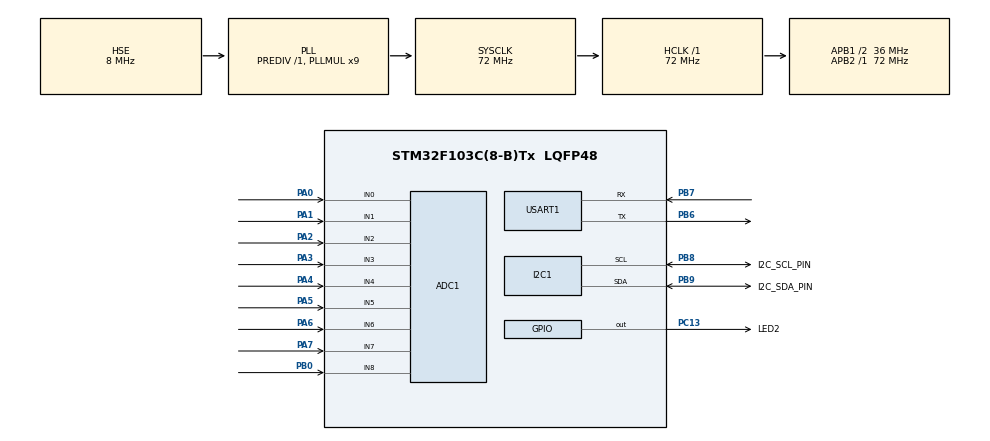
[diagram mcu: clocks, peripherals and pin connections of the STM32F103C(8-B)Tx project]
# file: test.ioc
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ADC1.Channel-10\#ChannelRegularConversion=ADC_CHANNEL_6
ADC1.Channel-11\#ChannelRegularConversion=ADC_CHANNEL_7
ADC1.Channel-4\#ChannelRegularConversion=ADC_CHANNEL_0
ADC1.Channel-5\#ChannelRegularConversion=ADC_CHANNEL_1
ADC1.Channel-6\#ChannelRegularConversion=ADC_CHANNEL_2
ADC1.Channel-7\#ChannelRegularConversion=ADC_CHANNEL_3
ADC1.Channel-8\#ChannelRegularConversion=ADC_CHANNEL_4
ADC1.Channel-9\#ChannelRegularConversion=ADC_CHANNEL_5
ADC1.ContinuousConvMode=DISABLE
ADC1.DataAlign=ADC_DATAALIGN_RIGHT
ADC1.DiscontinuousConvMode=DISABLE
ADC1.EnableAnalogWatchDog=false
ADC1.EnableRegularConversion=ENABLE
ADC1.ExternalTrigConv=ADC_SOFTWARE_START
ADC1.InjNumberOfConversion=0
ADC1.NbrOfConversion=8
ADC1.NbrOfConversionFlag=1
ADC1.Rank-10\#ChannelRegularConversion=7
ADC1.Rank-11\#ChannelRegularConversion=8
ADC1.Rank-4\#ChannelRegularConversion=1
ADC1.Rank-5\#ChannelRegularConversion=2
ADC1.Rank-6\#ChannelRegularConversion=3
ADC1.Rank-7\#ChannelRegularConversion=4
ADC1.Rank-8\#ChannelRegularConversion=5
ADC1.Rank-9\#ChannelRegularConversion=6
ADC1.SamplingTime-10\#ChannelRegularConversion=ADC_SAMPLETIME_239CYCLES_5
ADC1.SamplingTime-11\#ChannelRegularConversion=ADC_SAMPLETIME_239CYCLES_5
ADC1.SamplingTime-4\#ChannelRegularConversion=ADC_SAMPLETIME_239CYCLES_5
ADC1.SamplingTime-5\#ChannelRegularConversion=ADC_SAMPLETIME_239CYCLES_5
ADC1.SamplingTime-6\#ChannelRegularConversion=ADC_SAMPLETIME_239CYCLES_5
ADC1.SamplingTime-7\#ChannelRegularConversion=ADC_SAMPLETIME_239CYCLES_5
ADC1.SamplingTime-8\#ChannelRegularConversion=ADC_SAMPLETIME_239CYCLES_5
ADC1.SamplingTime-9\#ChannelRegularConversion=ADC_SAMPLETIME_239CYCLES_5
ADC1.ScanConvMode=ADC_SCAN_ENABLE
ADC1.master=1
Dma.ADC1.1.Direction=DMA_PERIPH_TO_MEMORY
Dma.ADC1.1.Instance=DMA1_Channel1
Dma.ADC1.1.MemDataAlignment=DMA_MDATAALIGN_HALFWORD
Dma.ADC1.1.MemInc=DMA_MINC_ENABLE
Dma.ADC1.1.Mode=DMA_NORMAL
Dma.ADC1.1.PeriphDataAlignment=DMA_PDATAALIGN_HALFWORD
Dma.ADC1.1.PeriphInc=DMA_PINC_DISABLE
Dma.ADC1.1.Priority=DMA_PRIORITY_LOW
Dma.I2C1_TX.0.Direction=DMA_MEMORY_TO_PERIPH
Dma.I2C1_TX.0.Instance=DMA1_Channel6
Dma.I2C1_TX.0.MemDataAlignment=DMA_MDATAALIGN_BYTE
Dma.I2C1_TX.0.MemInc=DMA_MINC_ENABLE
Dma.I2C1_TX.0.Mode=DMA_NORMAL
Dma.I2C1_TX.0.PeriphDataAlignment=DMA_PDATAALIGN_BYTE
Dma.I2C1_TX.0.PeriphInc=DMA_PINC_DISABLE
Dma.I2C1_TX.0.Priority=DMA_PRIORITY_LOW
Dma.Request0=I2C1_TX
Dma.Request1=ADC1
Mcu.Family=STM32F1
Mcu.Name=STM32F103C(8-B)Tx
Mcu.Package=LQFP48
NVIC.ADC1_2_IRQn=true\:0\:0\:false\:false\:true\:true
NVIC.DMA1_Channel1_IRQn=true\:0\:0\:false\:false\:true\:false
NVIC.DMA1_Channel6_IRQn=true\:0\:0\:false\:false\:true\:false
NVIC.I2C1_ER_IRQn=true\:0\:0\:false\:false\:true\:true
NVIC.I2C1_EV_IRQn=true\:0\:0\:false\:false\:true\:true
NVIC.PriorityGroup=NVIC_PRIORITYGROUP_4
PA0-WKUP.Signal=ADCx_IN0
PA1.Signal=ADCx_IN1
PA2.Signal=ADCx_IN2
PA3.Signal=ADCx_IN3
PA4.Signal=ADCx_IN4
PA5.Signal=ADCx_IN5
PA6.Signal=ADCx_IN6
PA7.Signal=ADCx_IN7
PB0.Signal=ADCx_IN8
PB6.Mode=Asynchronous
PB6.Signal=USART1_TX
PB7.Mode=Asynchronous
PB7.Signal=USART1_RX
PB8.GPIO_Label=I2C_SCL_PIN
PB8.Mode=I2C
PB8.Signal=I2C1_SCL
PB9.GPIO_Label=I2C_SDA_PIN
PB9.Mode=I2C
PB9.Signal=I2C1_SDA
PC13-TAMPER-RTC.GPIO_Label=LED2
PC13-TAMPER-RTC.GPIO_Speed=GPIO_SPEED_FREQ_HIGH
PC13-TAMPER-RTC.Signal=GPIO_Output
PD0-OSC_IN.Mode=HSE-External-Oscillator
PD0-OSC_IN.Signal=RCC_OSC_IN
PD1-OSC_OUT.Mode=HSE-External-Oscillator
PD1-OSC_OUT.Signal=RCC_OSC_OUT
ProjectManager.HeapSize=0x200
ProjectManager.StackSize=0x400
ProjectManager.TargetToolchain=SW4STM32
RCC.ADCPresc=RCC_ADCPCLK2_DIV6
RCC.AHBFreq_Value=72000000
RCC.APB1CLKDivider=RCC_HCLK_DIV2
RCC.APB1Freq_Value=36000000
RCC.APB1TimFreq_Value=72000000
RCC.APB2Freq_Value=72000000
RCC.APB2TimFreq_Value=72000000
RCC.HCLKFreq_Value=72000000
RCC.PLLMUL=RCC_PLL_MUL9
RCC.PLLSourceVirtual=RCC_PLLSOURCE_HSE
RCC.SYSCLKFreq_VALUE=72000000
RCC.SYSCLKSource=RCC_SYSCLKSOURCE_PLLCLK
RCC.USBFreq_Value=48000000
RCC.USBPrescaler=RCC_USBCLKSOURCE_PLL_DIV1_5
SH.ADCx_IN0.0=ADC1_IN0,IN0
SH.ADCx_IN1.0=ADC1_IN1,IN1
SH.ADCx_IN2.0=ADC1_IN2,IN2
SH.ADCx_IN3.0=ADC1_IN3,IN3
SH.ADCx_IN4.0=ADC1_IN4,IN4
SH.ADCx_IN5.0=ADC1_IN5,IN5
SH.ADCx_IN6.0=ADC1_IN6,IN6
SH.ADCx_IN7.0=ADC1_IN7,IN7
SH.ADCx_IN8.0=ADC1_IN8,IN8
USART1.VirtualMode=VM_ASYNC
VP_SYS_VS_ND.Mode=No_Debug
board=test

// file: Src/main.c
/**
  ******************************************************************************
  * File Name          : main.c
  * Description        : Main program body
  ******************************************************************************
  ** This notice applies to any and all portions of this file
  * that are not between comment pairs USER CODE BEGIN and
  * USER CODE END. Other portions of this file, whether
  * inserted by the user or by software development tools
  * are owned by their respective copyright owners.
  *
  * COPYRIGHT(c) 2018 STMicroelectronics
  *
  * Redistribution and use in source and binary forms, with or without modification,
  * are permitted provided that the following conditions are met:
  *   1. Redistributions of source code must retain the above copyright notice,
  *      this list of conditions and the following disclaimer.
  *   2. Redistributions in binary form must reproduce the above copyright notice,
  *      this list of conditions and the following disclaimer in the documentation
  *      and/or other materials provided with the distribution.
  *   3. Neither the name of STMicroelectronics nor the names of its contributors
  *      may be used to endorse or promote products derived from this software
  *      without specific prior written permission.
  *
  * THIS SOFTWARE IS PROVIDED BY THE COPYRIGHT HOLDERS AND CONTRIBUTORS "AS IS"
  * AND ANY EXPRESS OR IMPLIED WARRANTIES, INCLUDING, BUT NOT LIMITED TO, THE
  * IMPLIED WARRANTIES OF MERCHANTABILITY AND FITNESS FOR A PARTICULAR PURPOSE ARE
  * DISCLAIMED. IN NO EVENT SHALL THE COPYRIGHT HOLDER OR CONTRIBUTORS BE LIABLE
  * FOR ANY DIRECT, INDIRECT, INCIDENTAL, SPECIAL, EXEMPLARY, OR CONSEQUENTIAL
  * DAMAGES (INCLUDING, BUT NOT LIMITED TO, PROCUREMENT OF SUBSTITUTE GOODS OR
  * SERVICES; LOSS OF USE, DATA, OR PROFITS; OR BUSINESS INTERRUPTION) HOWEVER
  * CAUSED AND ON ANY THEORY OF LIABILITY, WHETHER IN CONTRACT, STRICT LIABILITY,
  * OR TORT (INCLUDING NEGLIGENCE OR OTHERWISE) ARISING IN ANY WAY OUT OF THE USE
  * OF THIS SOFTWARE, EVEN IF ADVISED OF THE POSSIBILITY OF SUCH DAMAGE.
  *
  ******************************************************************************
  */

#include "main.h"
#include "stm32f1xx_hal.h"

ADC_HandleTypeDef hadc1;
DMA_HandleTypeDef hdma_adc1;

I2C_HandleTypeDef hi2c1;
DMA_HandleTypeDef hdma_i2c1_tx;

UART_HandleTypeDef huart1;

/* USER CODE BEGIN PV */
/* Private variables ---------------------------------------------------------*/

/* USER CODE END PV */

void SystemClock_Config(void);
static void MX_GPIO_Init(void);
static void MX_DMA_Init(void);
static void MX_USART1_UART_Init(void);
static void MX_I2C1_Init(void);
static void MX_ADC1_Init(void);

/* USER CODE BEGIN PFP */
/* Private function prototypes -----------------------------------------------*/

/* USER CODE END PFP */

/* USER CODE BEGIN 0 */
#ifdef __GNUC__
  /* With GCC/RAISONANCE, small printf (option LD Linker->Libraries->Small printf
     set to 'Yes') calls __io_putchar() */
  #define PUTCHAR_PROTOTYPE int __io_putchar(int ch)
#else
  #define PUTCHAR_PROTOTYPE int fputc(int ch, FILE *f)
#endif /* __GNUC__ */
/**
  * @brief  Retargets the C library printf function to the USART.
  * @param  None
  * @retval None
  */
PUTCHAR_PROTOTYPE
{
  /* Place your implementation of fputc here */
  HAL_UART_Transmit(&huart1, (uint8_t *)&ch, 1, 0xFFFF);
  return ch;
}

void blink()
{
  HAL_GPIO_WritePin(LED2_GPIO_Port, LED2_Pin, GPIO_PIN_SET);
  HAL_Delay(50);
  HAL_GPIO_WritePin(LED2_GPIO_Port, LED2_Pin, GPIO_PIN_RESET);
  HAL_Delay(50);
  HAL_GPIO_WritePin(LED2_GPIO_Port, LED2_Pin, GPIO_PIN_SET);
}

/* USER CODE END 0 */

int main(void)
{

  /* MCU Configuration----------------------------------------------------------*/

  /* Reset of all peripherals, Initializes the Flash interface and the Systick. */
  HAL_Init();

  /* Configure the system clock */
  SystemClock_Config();

  /* Initialize all configured peripherals */
  MX_GPIO_Init();
  MX_DMA_Init();
  MX_USART1_UART_Init();
  MX_I2C1_Init();
  MX_ADC1_Init();

  /* Infinite loop */
  /* USER CODE BEGIN WHILE */

  Adafruit_SSD1306 display(hi2c1);

  int i = 0;
  while (1)
  {
	  ++i;
    blink();
    printf("AAAAA %d\r\n", i);

  /* USER CODE END WHILE */

  }

}

/** System Clock Configuration
*/
void SystemClock_Config(void)
{

  RCC_OscInitTypeDef RCC_OscInitStruct;
  RCC_ClkInitTypeDef RCC_ClkInitStruct;
  RCC_PeriphCLKInitTypeDef PeriphClkInit;

    /**Initializes the CPU, AHB and APB busses clocks
    */
  RCC_OscInitStruct.OscillatorType = RCC_OSCILLATORTYPE_HSE;
  RCC_OscInitStruct.HSEState = RCC_HSE_ON;
  RCC_OscInitStruct.HSEPredivValue = RCC_HSE_PREDIV_DIV1;
  RCC_OscInitStruct.HSIState = RCC_HSI_ON;
  RCC_OscInitStruct.PLL.PLLState = RCC_PLL_ON;
  RCC_OscInitStruct.PLL.PLLSource = RCC_PLLSOURCE_HSE;
  RCC_OscInitStruct.PLL.PLLMUL = RCC_PLL_MUL9;
  if (HAL_RCC_OscConfig(&RCC_OscInitStruct) != HAL_OK)
  {
    _Error_Handler(__FILE__, __LINE__);
  }

    /**Initializes the CPU, AHB and APB busses clocks
    */
  RCC_ClkInitStruct.ClockType = RCC_CLOCKTYPE_HCLK|RCC_CLOCKTYPE_SYSCLK
                              |RCC_CLOCKTYPE_PCLK1|RCC_CLOCKTYPE_PCLK2;
  RCC_ClkInitStruct.SYSCLKSource = RCC_SYSCLKSOURCE_PLLCLK;
  RCC_ClkInitStruct.AHBCLKDivider = RCC_SYSCLK_DIV1;
  RCC_ClkInitStruct.APB1CLKDivider = RCC_HCLK_DIV2;
  RCC_ClkInitStruct.APB2CLKDivider = RCC_HCLK_DIV1;

  if (HAL_RCC_ClockConfig(&RCC_ClkInitStruct, FLASH_LATENCY_2) != HAL_OK)
  {
    _Error_Handler(__FILE__, __LINE__);
  }

  PeriphClkInit.PeriphClockSelection = RCC_PERIPHCLK_ADC;
  PeriphClkInit.AdcClockSelection = RCC_ADCPCLK2_DIV6;
  if (HAL_RCCEx_PeriphCLKConfig(&PeriphClkInit) != HAL_OK)
  {
    _Error_Handler(__FILE__, __LINE__);
  }

    /**Configure the Systick interrupt time
    */
  HAL_SYSTICK_Config(HAL_RCC_GetHCLKFreq()/1000);

    /**Configure the Systick
    */
  HAL_SYSTICK_CLKSourceConfig(SYSTICK_CLKSOURCE_HCLK);

  /* SysTick_IRQn interrupt configuration */
  HAL_NVIC_SetPriority(SysTick_IRQn, 0, 0);
}

/* ADC1 init function */
static void MX_ADC1_Init(void)
{

  ADC_ChannelConfTypeDef sConfig;

    /**Common config
    */
  hadc1.Instance = ADC1;
  hadc1.Init.ScanConvMode = ADC_SCAN_ENABLE;
  hadc1.Init.ContinuousConvMode = DISABLE;
  hadc1.Init.DiscontinuousConvMode = DISABLE;
  hadc1.Init.ExternalTrigConv = ADC_SOFTWARE_START;
  hadc1.Init.DataAlign = ADC_DATAALIGN_RIGHT;
  hadc1.Init.NbrOfConversion = 8;
  if (HAL_ADC_Init(&hadc1) != HAL_OK)
  {
    _Error_Handler(__FILE__, __LINE__);
  }

    /**Configure Regular Channel
    */
  sConfig.Channel = ADC_CHANNEL_0;
  sConfig.Rank = 1;
  sConfig.SamplingTime = ADC_SAMPLETIME_239CYCLES_5;
  if (HAL_ADC_ConfigChannel(&hadc1, &sConfig) != HAL_OK)
  {
    _Error_Handler(__FILE__, __LINE__);
  }

    /**Configure Regular Channel
    */
  sConfig.Channel = ADC_CHANNEL_1;
  sConfig.Rank = 2;
  if (HAL_ADC_ConfigChannel(&hadc1, &sConfig) != HAL_OK)
  {
    _Error_Handler(__FILE__, __LINE__);
  }

    /**Configure Regular Channel
    */
  sConfig.Channel = ADC_CHANNEL_2;
  sConfig.Rank = 3;
  if (HAL_ADC_ConfigChannel(&hadc1, &sConfig) != HAL_OK)
  {
    _Error_Handler(__FILE__, __LINE__);
  }

    /**Configure Regular Channel
    */
  sConfig.Channel = ADC_CHANNEL_3;
  sConfig.Rank = 4;
  if (HAL_ADC_ConfigChannel(&hadc1, &sConfig) != HAL_OK)
  {
    _Error_Handler(__FILE__, __LINE__);
  }

    /**Configure Regular Channel
    */
  sConfig.Channel = ADC_CHANNEL_4;
  sConfig.Rank = 5;
  if (HAL_ADC_ConfigChannel(&hadc1, &sConfig) != HAL_OK)
  {
    _Error_Handler(__FILE__, __LINE__);
  }

    /**Configure Regular Channel
    */
  sConfig.Channel = ADC_CHANNEL_5;
  sConfig.Rank = 6;
  if (HAL_ADC_ConfigChannel(&hadc1, &sConfig) != HAL_OK)
  {
    _Error_Handler(__FILE__, __LINE__);
  }

    /**Configure Regular Channel
    */
  sConfig.Channel = ADC_CHANNEL_6;
  sConfig.Rank = 7;
  if (HAL_ADC_ConfigChannel(&hadc1, &sConfig) != HAL_OK)
  {
    _Error_Handler(__FILE__, __LINE__);
  }

    /**Configure Regular Channel
    */
  sConfig.Channel = ADC_CHANNEL_7;
  sConfig.Rank = 8;
  if (HAL_ADC_ConfigChannel(&hadc1, &sConfig) != HAL_OK)
  {
    _Error_Handler(__FILE__, __LINE__);
  }

}

/* I2C1 init function */
static void MX_I2C1_Init(void)
{

  hi2c1.Instance = I2C1;
  hi2c1.Init.ClockSpeed = 100000;
  hi2c1.Init.DutyCycle = I2C_DUTYCYCLE_2;
  hi2c1.Init.OwnAddress1 = 0;
  hi2c1.Init.AddressingMode = I2C_ADDRESSINGMODE_7BIT;
  hi2c1.Init.DualAddressMode = I2C_DUALADDRESS_DISABLE;
  hi2c1.Init.OwnAddress2 = 0;
  hi2c1.Init.GeneralCallMode = I2C_GENERALCALL_DISABLE;
  hi2c1.Init.NoStretchMode = I2C_NOSTRETCH_DISABLE;
  if (HAL_I2C_Init(&hi2c1) != HAL_OK)
  {
    _Error_Handler(__FILE__, __LINE__);
  }

}

/* USART1 init function */
static void MX_USART1_UART_Init(void)
{

  huart1.Instance = USART1;
  huart1.Init.BaudRate = 115200;
  huart1.Init.WordLength = UART_WORDLENGTH_8B;
  huart1.Init.StopBits = UART_STOPBITS_1;
  huart1.Init.Parity = UART_PARITY_NONE;
  huart1.Init.Mode = UART_MODE_TX_RX;
  huart1.Init.HwFlowCtl = UART_HWCONTROL_NONE;
  huart1.Init.OverSampling = UART_OVERSAMPLING_16;
  if (HAL_UART_Init(&huart1) != HAL_OK)
  {
    _Error_Handler(__FILE__, __LINE__);
  }

}

static void MX_DMA_Init(void)
{
  /* DMA controller clock enable */
  __HAL_RCC_DMA1_CLK_ENABLE();

  /* DMA interrupt init */
  /* DMA1_Channel1_IRQn interrupt configuration */
  HAL_NVIC_SetPriority(DMA1_Channel1_IRQn, 0, 0);
  HAL_NVIC_EnableIRQ(DMA1_Channel1_IRQn);
  /* DMA1_Channel6_IRQn interrupt configuration */
  HAL_NVIC_SetPriority(DMA1_Channel6_IRQn, 0, 0);
  HAL_NVIC_EnableIRQ(DMA1_Channel6_IRQn);

}

/** Configure pins as
        * Analog
        * Input
        * Output
        * EVENT_OUT
        * EXTI
*/
static void MX_GPIO_Init(void)
{

  GPIO_InitTypeDef GPIO_InitStruct;

  /* GPIO Ports Clock Enable */
  __HAL_RCC_GPIOC_CLK_ENABLE();
  __HAL_RCC_GPIOD_CLK_ENABLE();
  __HAL_RCC_GPIOA_CLK_ENABLE();
  __HAL_RCC_GPIOB_CLK_ENABLE();

  /*Configure GPIO pin Output Level */
  HAL_GPIO_WritePin(LED2_GPIO_Port, LED2_Pin, GPIO_PIN_RESET);

  /*Configure GPIO pin : LED2_Pin */
  GPIO_InitStruct.Pin = LED2_Pin;
  GPIO_InitStruct.Mode = GPIO_MODE_OUTPUT_PP;
  GPIO_InitStruct.Speed = GPIO_SPEED_FREQ_HIGH;
  HAL_GPIO_Init(LED2_GPIO_Port, &GPIO_InitStruct);

}

void _Error_Handler(char * file, int line)
{
  while(1)
  {
  }
}

/************************ (C) COPYRIGHT STMicroelectronics *****END OF FILE****/
